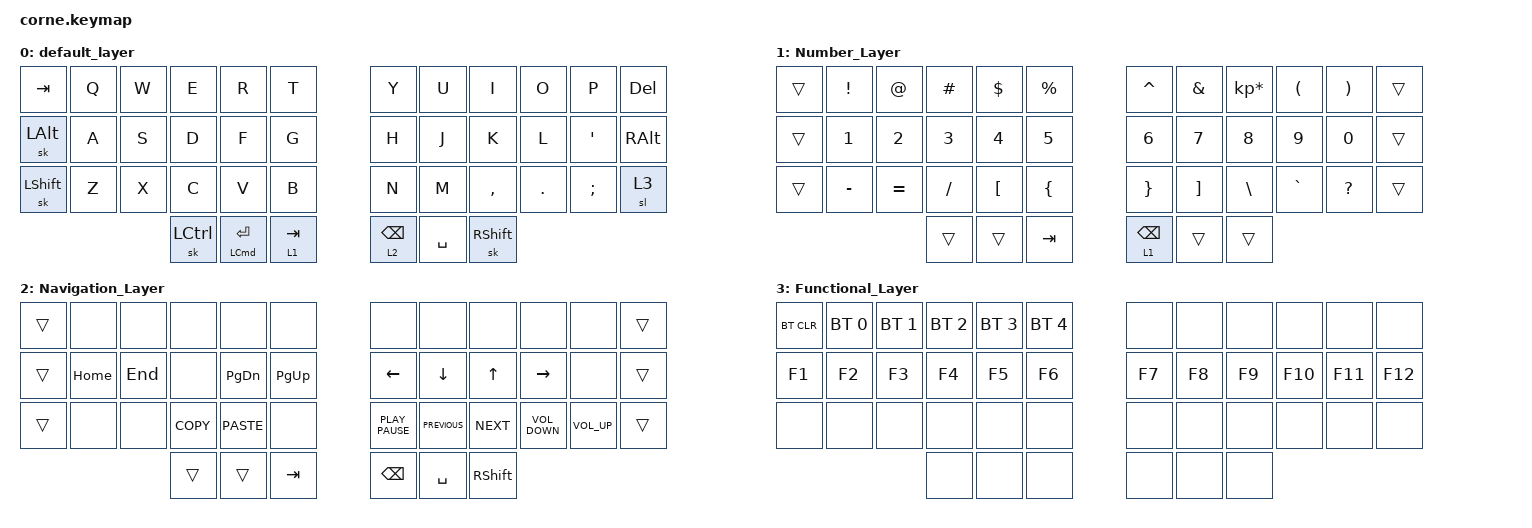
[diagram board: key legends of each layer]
/*
 * Copyright (c) 2020 The ZMK Contributors
 *
 * SPDX-License-Identifier: MIT
 */

#include <behaviors.dtsi>
#include <dt-bindings/zmk/bt.h>
#include <dt-bindings/zmk/keys.h>

/ {
    behaviors {
        tp: tap_preferred {
            compatible = "zmk,behavior-hold-tap";
            label = "TAP_PREFERRED";
            #binding-cells = <2>;
            tapping-term-ms = <150>;
            quick-tap-ms = <50>;
            flavor = "tap-preferred";
            bindings = <&kp>, <&kp>;

            hold-while-undecided;
        };

        layer_hold: layer_hold {
            compatible = "zmk,behavior-hold-tap";
            label = "LAYER_HOLD";
            #binding-cells = <2>;
            tapping-term-ms = <190>;
            quick-tap-ms = <0>;
            flavor = "tap-preferred";
            bindings = <&mo>, <&kp>;
        };

        CommaQuote: CommaQuote {
            compatible = "zmk,behavior-mod-morph";
            label = "COMMAQUOTE";
            bindings = <&kp KP_COMMA>, <&kp DQT>;

            #binding-cells = <0>;
            mods = <(MOD_LSFT)>;
        };

        db: db {
            compatible = "zmk,behavior-hold-tap";
            label = "DB";
            #binding-cells = <2>;
            tapping-term-ms = <190>;
            quick-tap-ms = <0>;
            flavor = "tap-preferred";
            bindings = <&kp>, <&kp>;
        };
    };

    combos {
        compatible = "zmk,combos";

        Escape {
            bindings = <&kp ESC>;
            key-positions = <19 20>;
            timeout-ms = <100>;
            layers = <0>;
        };
    };

    keymap {
        compatible = "zmk,keymap";

        default_layer {
            // -----------------------------------------------------------------------------------------
            // | TAB  |  Q  |  W  |  E  |  R  |    T    |   |  Y  |  U   |  I  |  O  |  P  | ESC |
            // | CTRL |  A  |  S  |  D  |  F  |    G    |   |  H  |  J   |  K  |  L  |  ;  |  '   |
            // | SHFT |  Z  |  X  |  C  |  V  |    B    |   |  N  |  M   |  ,  |  .  |  /  | SHFT |
            //                    | GUI | LWR | ALT/ENT |   | HYPER/SPC | BKSP  | RSE |

            bindings = <
&kp TAB         &kp Q  &kp W  &kp E             &kp R                   &kp T                &kp Y                    &kp U      &kp I            &kp O       &kp P             &kp DEL
&sk LEFT_ALT    &kp A  &kp S  &kp D             &kp F                   &kp G                &kp H                    &kp J      &kp K            &kp L       &kp SINGLE_QUOTE  &kp RIGHT_ALT
&sk LEFT_SHIFT  &kp Z  &kp X  &kp C             &kp V                   &kp B                &kp N                    &kp M      &kp COMMA        &kp PERIOD  &kp SEMI          &sl 3
                              &sk LEFT_CONTROL  &mt LEFT_COMMAND ENTER  &layer_hold 1 TAB    &layer_hold 2 BACKSPACE  &kp SPACE  &sk RIGHT_SHIFT
            >;
        };

        Number_Layer {
            // -----------------------------------------------------------------------------------------
            // |      |  !  |  @  |  #  |  $  |    %     |   |  ^  |  &  |  *  |  (  |  )  |   \   |
            // |      |  1  |  2  |  3  |  4  |    5     |   |  -  |  =  |  `  |  [  |  ]  |  "|"  |
            // | SHFT |  6  |  7  |  8  |  9  |    0     |   |  _  |  +  |  ~  |  {  |  }  | RSHFT |
            //                     | GUI |     | ALT/ENT |   | HYPER/SPACE | BKSP |    |

            bindings = <
&trans  &kp EXCL   &kp AT     &kp HASH   &kp DLLR          &kp PRCNT         &kp CARET                &kp AMPS           &kp KP_MULTIPLY  &kp LEFT_PARENTHESIS  &kp RIGHT_PARENTHESIS  &trans
&trans  &kp N1     &kp N2     &kp N3     &kp N4            &kp N5            &kp NUMBER_6             &kp NUMBER_7       &kp NUMBER_8     &kp NUMBER_9          &kp N0                 &trans
&trans  &kp MINUS  &kp EQUAL  &kp SLASH  &kp LEFT_BRACKET  &kp LEFT_BRACE    &kp RIGHT_BRACE          &kp RIGHT_BRACKET  &kp BACKSLASH    &kp GRAVE             &kp QUESTION           &trans
                              &trans     &trans            &kp TAB           &layer_hold 1 BACKSPACE  &trans             &trans
            >;
        };

        Navigation_Layer {
            // -----------------------------------------------------------------------------------------
            // |       |  F1  |  F2  |  F3  |  F4  |  F5 |            |  F6  |  F7  |  F8  |  F9  |  F10  |   |
            // |       | Prev | Next | Vol - | Vol + | Play/Pause |   |      | LFT | DWN |  UP | RGT |     |     |
            // | BTCLR | BT1 | BT2 | BT3 | BT4 | BT5 |   |            |     |     |     |     |     |     |
            //                    |     |     |    |                  |     |     |     |

            bindings = <
&trans  &none     &none    &none       &none          &none          &none             &none           &none            &none              &none            &trans
&trans  &kp HOME  &kp END  &none       &kp PAGE_DOWN  &kp PAGE_UP    &kp LEFT          &kp DOWN        &kp UP           &kp RIGHT          &none            &trans
&trans  &none     &none    &kp K_COPY  &kp K_PASTE    &none          &kp K_PLAY_PAUSE  &kp K_PREVIOUS  &kp K_NEXT       &kp C_VOLUME_DOWN  &kp C_VOLUME_UP  &trans
                           &trans      &trans         &kp TAB        &kp BACKSPACE     &kp SPACE       &kp RIGHT_SHIFT
            >;
        };

        Functional_Layer {
            bindings = <
&bt BT_CLR  &bt BT_SEL 0  &bt BT_SEL 1  &bt BT_SEL 2  &bt BT_SEL 3  &bt BT_SEL 4    &none   &none   &none   &none    &none    &none
&kp F1      &kp F2        &kp F3        &kp F4        &kp F5        &kp F6          &kp F7  &kp F8  &kp F9  &kp F10  &kp F11  &kp F12
&none       &none         &none         &none         &none         &none           &none   &none   &none   &none    &none    &none
                                        &none         &none         &none           &none   &none   &none
            >;
        };
    };
};
